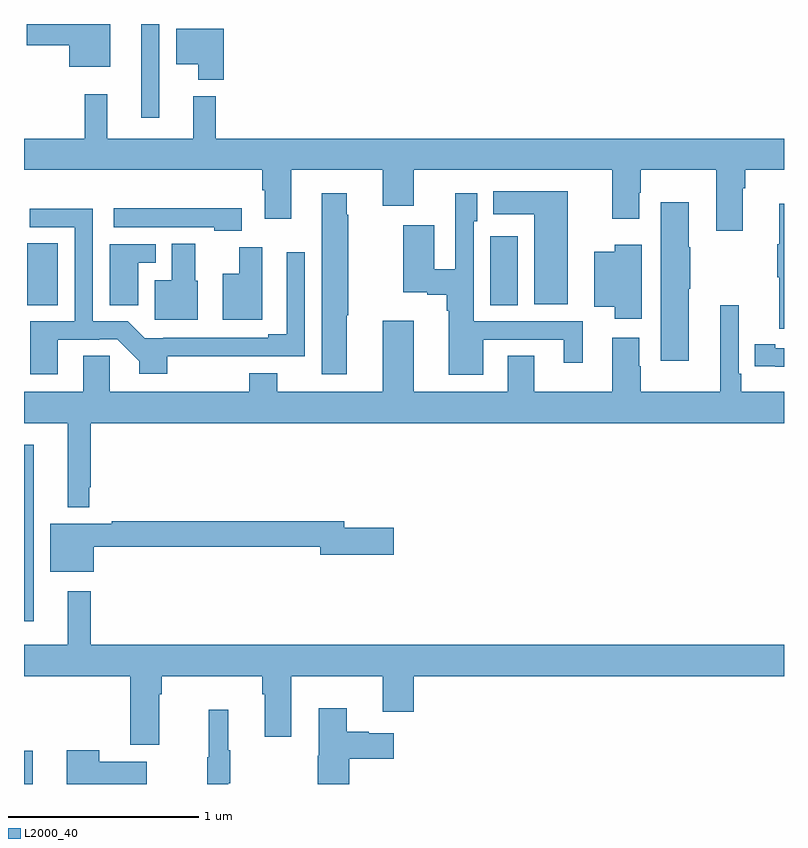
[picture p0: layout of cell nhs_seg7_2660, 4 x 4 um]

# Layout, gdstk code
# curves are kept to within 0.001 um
import gdstk
lib = gdstk.Library(unit=1e-6, precision=1e-09)
def R(c, l, rs):  # rectangles x0, y0, x1, y1
    for r in rs: c.add(gdstk.rectangle(r[:2], r[2:], *l))
def P(c, l, *ps):  # polygons
    for p in ps: c.add(gdstk.Polygon(p, *l))
L2000_40 = (2000, 40)

nhs_seg7_2660 = lib.new_cell('nhs_seg7_2660')
R(nhs_seg7_2660, L2000_40, [(283,1048,283.046,1048.174), (283,1048.857,283.051,1049.785), (283.016,1050.52,283.177,1050.845), (285.455,1050.52,285.598,1050.883), (283.616,1051.506,283.713,1052)])
P(nhs_seg7_2660, L2000_40, [(283.453,1052),(283.014,1052),(283.014,1051.889),(283.238,1051.889),(283.238,1051.775),(283.453,1051.775)],
  [(284.051,1051.975),(283.802,1051.975),(283.802,1051.787),(283.916,1051.787),(283.916,1051.706),(284.051,1051.706)],
  [(286.783,1051.136),(286.796,1051.136),(286.796,1051.232),(287,1051.232),(287,1051.396),(284.009,1051.396),(284.009,1051.621),(283.892,1051.621),(283.892,1051.396),(283.439,1051.396),(283.439,1051.63),(283.321,1051.63),(283.321,1051.396),(283,1051.396),(283,1051.232),(284.255,1051.232),(284.255,1051.126),(284.267,1051.126),(284.267,1050.975),(284.407,1050.975),(284.407,1051.232),(284.888,1051.232),(284.888,1051.044),(285.052,1051.044),(285.052,1051.232),(286.097,1051.232),(286.097,1050.975),(286.237,1050.975),(286.237,1051.112),(286.245,1051.112),(286.245,1051.232),(286.643,1051.232),(286.643,1050.912),(286.783,1050.912)],
  [(285.862,1051.12),(285.47,1051.12),(285.47,1050.998),(285.686,1050.998),(285.686,1050.524),(285.862,1050.524)],
  [(285.418,1050.339),(285.842,1050.339),(285.842,1050.216),(285.94,1050.216),(285.94,1050.435),(285.366,1050.435),(285.366,1050.963),(285.385,1050.963),(285.385,1051.108),(285.27,1051.108),(285.27,1050.71),(285.16,1050.71),(285.16,1050.94),(284.995,1050.94),(284.995,1050.587),(285.123,1050.587),(285.123,1050.575),(285.224,1050.575),(285.224,1050.491),(285.236,1050.491),(285.236,1050.155),(285.418,1050.155)],
  [(284.698,1050.468),(284.706,1050.468),(284.706,1050.995),(284.698,1050.995),(284.698,1051.108),(284.567,1051.108),(284.567,1050.156),(284.698,1050.156)],
  [(286.498,1050.607),(286.506,1050.607),(286.506,1050.824),(286.498,1050.824),(286.498,1051.063),(286.352,1051.063),(286.352,1050.228),(286.498,1050.228)],
  [(287,1051.054),(286.976,1051.054),(286.976,1050.841),(286.965,1050.841),(286.965,1050.667),(286.976,1050.667),(286.976,1050.396),(287,1050.396)],
  [(284.146,1051.03),(283.473,1051.03),(283.473,1050.929),(284.001,1050.929),(284.001,1050.911),(284.146,1050.911)],
  [(283.177,1050.339),(283.397,1050.339),(283.397,1050.342),(283.491,1050.342),(283.607,1050.226),(283.607,1050.158),(283.755,1050.158),(283.755,1050.251),(284.478,1050.252),(284.478,1050.799),(284.382,1050.799),(284.382,1050.368),(284.285,1050.368),(284.285,1050.348),(283.732,1050.348),(283.732,1050.345),(283.636,1050.345),(283.546,1050.435),(283.362,1050.435),(283.362,1051.028),(283.029,1051.028),(283.029,1050.93),(283.266,1050.93),(283.266,1050.435),(283.034,1050.435),(283.034,1050.156),(283.177,1050.156)],
  [(283.915,1050.648),(283.9,1050.648),(283.9,1050.844),(283.778,1050.844),(283.778,1050.652),(283.688,1050.652),(283.688,1050.443),(283.915,1050.443)],
  [(283.6,1050.744),(283.693,1050.744),(283.693,1050.84),(283.451,1050.84),(283.451,1050.52),(283.6,1050.52)],
  [(286.252,1050.838),(286.109,1050.838),(286.109,1050.802),(286.001,1050.802),(286.001,1050.512),(286.109,1050.512),(286.109,1050.45),(286.252,1050.45)],
  [(284.254,1050.826),(284.132,1050.826),(284.132,1050.685),(284.045,1050.685),(284.045,1050.443),(284.254,1050.443)],
  [(283.344,1049.563),(283.351,1049.563),(283.351,1049.9),(287,1049.9),(287,1050.064),(286.775,1050.064),(286.775,1050.16),(286.761,1050.16),(286.761,1050.52),(286.664,1050.52),(286.664,1050.064),(286.245,1050.064),(286.245,1050.198),(286.237,1050.198),(286.237,1050.349),(286.097,1050.349),(286.097,1050.064),(285.685,1050.064),(285.685,1050.254),(285.545,1050.254),(285.545,1050.064),(285.052,1050.064),(285.052,1050.439),(284.888,1050.439),(284.888,1050.064),(284.332,1050.064),(284.332,1050.163),(284.185,1050.163),(284.185,1050.064),(283.452,1050.064),(283.452,1050.254),(283.313,1050.254),(283.313,1050.064),(283,1050.064),(283,1049.9),(283.229,1049.9),(283.229,1049.456),(283.344,1049.456)],
  [(287,1050.294),(286.954,1050.294),(286.954,1050.314),(286.846,1050.314),(286.846,1050.198),(286.954,1050.198),(286.954,1050.197),(287,1050.197)],
  [(283.366,1049.248),(284.558,1049.248),(284.558,1049.206),(284.947,1049.206),(284.947,1049.348),(284.686,1049.348),(284.686,1049.384),(283.462,1049.384),(283.462,1049.371),(283.139,1049.371),(283.139,1049.117),(283.366,1049.117)],
  [(283.711,1048.472),(283.724,1048.472),(283.724,1048.568),(284.255,1048.568),(284.255,1048.472),(284.267,1048.472),(284.267,1048.248),(284.407,1048.248),(284.407,1048.568),(284.888,1048.568),(284.888,1048.38),(285.052,1048.38),(285.052,1048.568),(287,1048.568),(287,1048.732),(283.351,1048.732),(283.351,1049.014),(283.229,1049.014),(283.229,1048.732),(283,1048.732),(283,1048.568),(283.559,1048.568),(283.559,1048.206),(283.711,1048.206)],
  [(284.711,1048.133),(284.947,1048.133),(284.947,1048.267),(284.814,1048.267),(284.814,1048.275),(284.698,1048.275),(284.698,1048.399),(284.552,1048.399),(284.552,1048.149),(284.545,1048.149),(284.545,1048),(284.711,1048)],
  [(284.075,1048.003),(284.086,1048.003),(284.086,1048.177),(284.075,1048.177),(284.075,1048.39),(283.972,1048.39),(283.972,1048.14),(283.965,1048.14),(283.965,1048),(284.075,1048)],
  [(283.645,1048.117),(283.397,1048.117),(283.397,1048.177),(283.226,1048.177),(283.226,1048),(283.645,1048)])

lib.write_gds('nhs_seg7_2660.gds')
